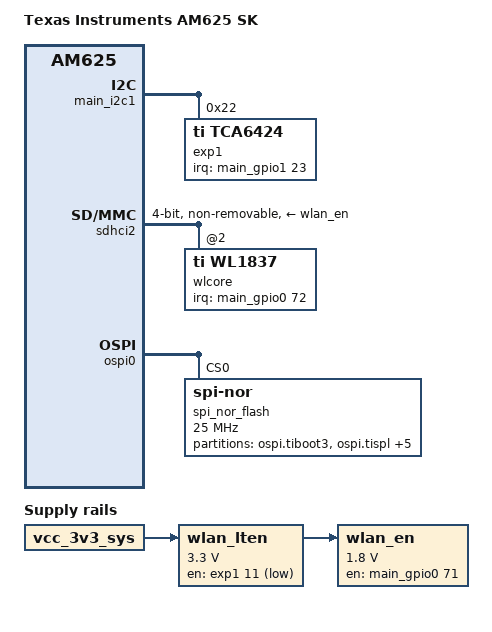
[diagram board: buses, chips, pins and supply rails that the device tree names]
// SPDX-License-Identifier: GPL-2.0
/*
 * AM625 SK: https://www.ti.com/lit/zip/sprr448
 *
 * Copyright (C) 2021-2022 Texas Instruments Incorporated - https://www.ti.com/
 */

/dts-v1/;

#include <dt-bindings/leds/common.h>
#include <dt-bindings/gpio/gpio.h>
#include <dt-bindings/net/ti-dp83867.h>
#include "k3-am625.dtsi"
#include "k3-am62x-sk-common.dtsi"

/ {
	compatible =  "ti,am625-sk", "ti,am625";
	model = "Texas Instruments AM625 SK";

	wlan_lten: regulator-5 {
		compatible = "regulator-fixed";
		regulator-name = "wlan_lten";
		regulator-min-microvolt = <3300000>;
		regulator-max-microvolt = <3300000>;
		regulator-always-on;
		vin-supply = <&vcc_3v3_sys>;
		gpios = <&exp1 11 GPIO_ACTIVE_LOW>;
	};

	wlan_en: regulator-6 {
		/* OUTPUT of SN74AVC2T244DQMR */
		compatible = "regulator-fixed";
		regulator-name = "wlan_en";
		regulator-min-microvolt = <1800000>;
		regulator-max-microvolt = <1800000>;
		enable-active-high;
		vin-supply = <&wlan_lten>;
		gpios = <&main_gpio0 71 GPIO_ACTIVE_HIGH>;
		pinctrl-names = "default";
		pinctrl-0 = <&wlan_en_pins_default>;
	};
};

&main_pmx0 {
	wlan_en_pins_default: wlan-en-pins-default {
		pinctrl-single,pins = <
			AM62X_IOPAD(0x124, PIN_OUTPUT, 7) /* (A23) MMC2_SDCD.GPIO0_71 */
		>;
	};

	main_mmc2_pins_default: main-mmc2-pins-default {
		pinctrl-single,pins = <
			AM62X_IOPAD(0x120, PIN_INPUT, 0) /* (C24) MMC2_CMD */
			AM62X_IOPAD(0x118, PIN_INPUT, 0) /* (D25) MMC2_CLK */
			AM62X_IOPAD(0x114, PIN_INPUT, 0) /* (B24) MMC2_DAT0 */
			AM62X_IOPAD(0x110, PIN_INPUT, 0) /* (C25) MMC2_DAT1 */
			AM62X_IOPAD(0x10c, PIN_INPUT, 0) /* (E23) MMC2_DAT2 */
			AM62X_IOPAD(0x108, PIN_INPUT, 0) /* (D24) MMC2_DAT3 */
			AM62X_IOPAD(0x11c, PIN_INPUT, 0) /* (#N/A) MMC2_CLKB */
		>;
	};

	main_wlirq_pins_default: main-wlirq-pins-default {
		pinctrl-single,pins = <
			AM62X_IOPAD(0x128, PIN_INPUT, 7) /* (B23) MMC2_SDWP.GPIO0_72 */
		>;
	};

};
&main_i2c1 {
	exp1: gpio@22 {
		compatible = "ti,tca6424";
		reg = <0x22>;
		gpio-controller;
		#gpio-cells = <2>;
		gpio-line-names = "GPIO_CPSW2_RST", "GPIO_CPSW1_RST",
				   "PRU_DETECT", "MMC1_SD_EN",
				   "VPP_LDO_EN", "EXP_PS_3V3_En",
				   "EXP_PS_5V0_En", "EXP_HAT_DETECT",
				   "GPIO_AUD_RSTn", "GPIO_eMMC_RSTn",
				   "UART1_FET_BUF_EN", "WL_LT_EN",
				   "GPIO_HDMI_RSTn", "CSI_GPIO1",
				   "CSI_GPIO2", "PRU_3V3_EN",
				   "HDMI_INTn", "TEST_GPIO2",
				   "MCASP1_FET_EN", "MCASP1_BUF_BT_EN",
				   "MCASP1_FET_SEL", "UART1_FET_SEL",
				   "TSINT#", "IO_EXP_TEST_LED";

		interrupt-parent = <&main_gpio1>;
		interrupts = <23 IRQ_TYPE_EDGE_FALLING>;
		interrupt-controller;
		#interrupt-cells = <2>;

		pinctrl-names = "default";
		pinctrl-0 = <&main_gpio1_ioexp_intr_pins_default>;
	};
};

&sdhci2 {
	vmmc-supply = <&wlan_en>;
	pinctrl-names = "default";
	pinctrl-0 = <&main_mmc2_pins_default>;
	bus-width = <4>;
	non-removable;
	ti,fails-without-test-cd;
	cap-power-off-card;
	keep-power-in-suspend;
	ti,driver-strength-ohm = <50>;
	assigned-clocks = <&k3_clks 157 158>;
	assigned-clock-parents = <&k3_clks 157 160>;

	#address-cells = <1>;
	#size-cells = <0>;
	wlcore: wlcore@2 {
		compatible = "ti,wl1837";
		reg = <2>;
		pinctrl-names = "default";
		pinctrl-0 = <&main_wlirq_pins_default>;
		interrupt-parent = <&main_gpio0>;
		interrupts = <72 IRQ_TYPE_EDGE_FALLING>;
	};
};

&ospi0 {
	spi_nor_flash: flash@0 {
		compatible = "jedec,spi-nor";
		reg = <0x0>;
		spi-tx-bus-width = <8>;
		spi-rx-bus-width = <8>;
		spi-max-frequency = <25000000>;
		cdns,tshsl-ns = <60>;
		cdns,tsd2d-ns = <60>;
		cdns,tchsh-ns = <60>;
		cdns,tslch-ns = <60>;
		cdns,read-delay = <4>;
		cdns,phy-mode;

		partitions {
			compatible = "fixed-partitions";
			#address-cells = <1>;
			#size-cells = <1>;

			partition@0 {
				label = "ospi.tiboot3";
				reg = <0x0 0x80000>;
			};

			partition@80000 {
				label = "ospi.tispl";
				reg = <0x80000 0x200000>;
			};

			partition@280000 {
				label = "ospi.u-boot";
				reg = <0x280000 0x400000>;
			};

			partition@680000 {
				label = "ospi.env";
				reg = <0x680000 0x40000>;
			};

			partition@6c0000 {
				label = "ospi.env.backup";
				reg = <0x6c0000 0x40000>;
			};

			partition@800000 {
				label = "ospi.rootfs";
				reg = <0x800000 0x37c0000>;
			};

			partition@3fc0000 {
				label = "ospi.phypattern";
				reg = <0x3fc0000 0x40000>;
			};
		};
	};
};
